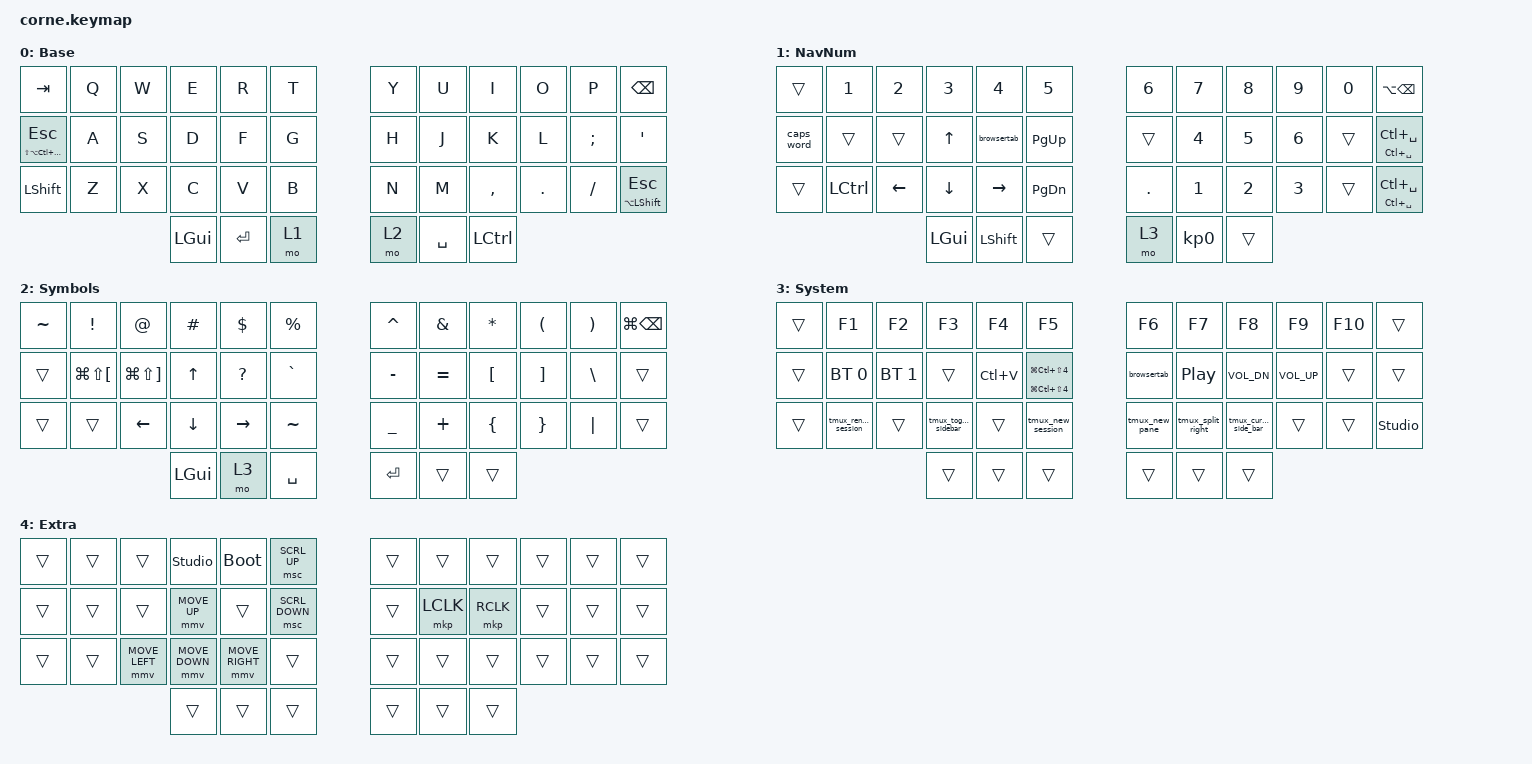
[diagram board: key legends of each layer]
#include <behaviors.dtsi>
#include <dt-bindings/zmk/bt.h>
#include <dt-bindings/zmk/keys.h>
#include <dt-bindings/zmk/pointing.h>

#define DEF 0
#define NAV 1
#define SYM 2
#define ADJ 3
#define EXTRA 4

/ {
    behaviors {
        hm: homerow_mods {
            compatible = "zmk,behavior-hold-tap";
            #binding-cells = <2>;
            tapping-term-ms = <200>;
            flavor = "tap-preferred";
            bindings = <&kp>, <&kp>;

            quick-tap-ms = <180>;
            require-prior-idle-ms = <120>; /* tune to taste */
        };

        para: para {
            compatible = "zmk,behavior-tap-dance";
            #binding-cells = <0>;
            bindings = <&kp LEFT_PARENTHESIS>, <&kp RIGHT_PARENTHESIS>;
        };

        caps: caps {
            compatible = "zmk,behavior-caps-word";
            #binding-cells = <0>;
            continue-list = <MINUS BACKSPACE>;
        };

        paraless: paraless {
            compatible = "zmk,behavior-mod-morph";
            bindings = <&kp LEFT_PARENTHESIS>, <&kp LESS_THAN>;

            #binding-cells = <0>;
            mods = <(MOD_LSFT)>;
        };

        paragreat: paragreat {
            compatible = "zmk,behavior-mod-morph";
            bindings = <&kp RIGHT_PARENTHESIS>, <&kp GREATER_THAN>;

            #binding-cells = <0>;
            mods = <(MOD_LSFT)>;
        };
    };

    macros {
        browsertab: browsertab {
            compatible = "zmk,behavior-macro";
            #binding-cells = <0>;
            bindings =
                <&macro_press>,
                <&kp LEFT_CONTROL>,
                <&macro_tap>,
                <&kp TAB>,
                <&macro_release>,
                <&kp LCTRL>;
        };

        tmux_cursor_side_bar: select_agent_panel {
            compatible = "zmk,behavior-macro";
            #binding-cells = <0>;
            bindings =
                <&macro_press>,
                <&kp LEFT_CONTROL>,
                <&macro_tap>,
                <&kp SPACE>,
                <&macro_release>,
                <&kp LCTRL>,
                <&macro_tap>,
                <&kp O>;

            label = "SELECT_AGENT_PANEL";
        };

        tmux_toggle_sidebar: toggle_sidebar {
            compatible = "zmk,behavior-macro";
            #binding-cells = <0>;
            bindings =
                <&macro_press>,
                <&kp LEFT_CONTROL>,
                <&macro_tap>,
                <&kp SPACE>,
                <&macro_release>,
                <&kp LCTRL>,
                <&macro_tap>,
                <&kp LS(E)>;

            label = "TOGGLE_SIDEBAR";
        };

        tmux_new_pane: new_pane {
            compatible = "zmk,behavior-macro";
            #binding-cells = <0>;
            bindings =
                <&macro_press>,
                <&kp LEFT_CONTROL>,
                <&macro_tap>,
                <&kp SPACE>,
                <&macro_release>,
                <&kp LCTRL>,
                <&macro_tap>,
                <&kp T>;

            label = "NEW_PANE";
        };

        tmux_new_session: new_session {
            compatible = "zmk,behavior-macro";
            #binding-cells = <0>;
            bindings =
                <&macro_press>,
                <&kp LEFT_CONTROL>,
                <&macro_tap>,
                <&kp SPACE>,
                <&macro_release>,
                <&kp LCTRL>,
                <&macro_tap>,
                <&kp LS(S)>;

            label = "NEW_SESSION";
        };

        tmux_rename_session: tmux_rename_session {
            compatible = "zmk,behavior-macro";
            #binding-cells = <0>;
            bindings =
                <&macro_press>,
                <&kp LEFT_CONTROL>,
                <&macro_tap>,
                <&kp SPACE>,
                <&macro_release>,
                <&kp LCTRL>,
                <&macro_tap>,
                <&kp DOLLAR>;

            label = "TMUX_RENAME_SESSION";
        };

        tmux_split_right: tmux_split_right {
            compatible = "zmk,behavior-macro";
            #binding-cells = <0>;
            bindings =
                <&macro_press>,
                <&kp LEFT_CONTROL>,
                <&macro_tap>,
                <&kp SPACE>,
                <&macro_release>,
                <&kp LCTRL>,
                <&macro_tap>,
                <&kp V>;

            label = "TMUX_SPLIT_RIGHT";
        };
    };

    combos {
        compatible = "zmk,combos";

        escape {
            bindings = <&kp ESCAPE>;
            key-positions = <13 29>;
        };

        delete {
            bindings = <&kp DELETE>;
            key-positions = <15 21>;
        };

        perc {
            bindings = <&kp PERCENT>;
            key-positions = <5 17>;
            layers = <0>;
        };

        equal {
            bindings = <&kp EQUAL>;
            key-positions = <28 16>;
            layers = <0>;
        };

        dollar {
            bindings = <&kp DOLLAR>;
            key-positions = <4 16>;
            layers = <0>;
        };

        pound {
            bindings = <&kp POUND>;
            key-positions = <3 15>;
            layers = <0>;
        };

        at {
            bindings = <&kp AT>;
            key-positions = <2 14>;
            layers = <0>;
        };

        backslash {
            bindings = <&kp BACKSLASH>;
            key-positions = <26 14>;
            layers = <0>;
        };

        star {
            bindings = <&kp STAR>;
            key-positions = <8 20>;
            layers = <0>;
        };

        slash {
            bindings = <&kp SLASH>;
            key-positions = <32 20>;
            layers = <0>;
        };

        plus {
            bindings = <&kp PLUS>;
            key-positions = <7 19>;
            layers = <0>;
        };

        minus {
            bindings = <&kp KP_MINUS>;
            key-positions = <31 19>;
            layers = <0>;
        };

        underscore {
            bindings = <&kp UNDER>;
            key-positions = <30 18>;
            layers = <0>;
        };

        leftbrack {
            bindings = <&kp LEFT_BRACKET>;
            key-positions = <31 32>;
            layers = <0>;
        };

        rightbrack {
            bindings = <&kp RIGHT_BRACKET>;
            key-positions = <33 32>;
            layers = <0>;
        };

        para-less {
            bindings = <&paraless>;
            key-positions = <20 19>;
            layers = <0>;
        };

        para-great {
            bindings = <&paragreat>;
            key-positions = <20 21>;
            layers = <0>;
        };
    };

    //

    keymap {
        compatible = "zmk,keymap";

        DEF {
            display-name = "Base";

            // -----------------------------------------------------------------------------------------
            // |  Q  |  W  |  E  |  R  |  T  |   |  Y  |  U   |  I  |  O  |  P  |
            // |  A  |  S  |  D  |  F  |  G  |   |  H  |  J   |  K  |  L  |  ;  |
            // |  Z  |  X  |  C  |  V  |  B  |   |  N  |  M   |  ,  |  .  |  /  |
            // | GUI | CTRL | SHFT | LWR | SPC |   | ENT | RSE  | BKSP | ALT | ESC |

            bindings = <
&kp TAB                           &kp Q  &kp W  &kp E     &kp R       &kp T    &kp Y  &kp U      &kp I             &kp O    &kp P     &kp BACKSPACE
&mt LS(LA(LC(LG(LSHFT)))) ESCAPE  &kp A  &kp S  &kp D     &kp F       &kp G    &kp H  &kp J      &kp K             &kp L    &kp SEMI  &kp SQT
&kp LEFT_SHIFT                    &kp Z  &kp X  &kp C     &kp V       &kp B    &kp N  &kp M      &kp COMMA         &kp DOT  &kp FSLH  &mt LA(LEFT_SHIFT) ESCAPE
                                                &kp LGUI  &kp RETURN  &mo 1    &mo 2  &kp SPACE  &kp LEFT_CONTROL
            >;
        };

        NAV {
            display-name = "NavNum";

            // -----------------------------------------------------------------------------------------
            // |  TAB |  1  |  2  |  3  |  4  |  5  |   |  6  |  7  |  8  |  9  |  0  | BKSP |
            // | BTCLR| BT1 | BT2 | BT3 | BT4 | BT5 |   | LFT | DWN |  UP | RGT |     |      |
            // | SHFT |     |     |     |     |     |   |     |     |     |     |     |      |
            // | GUI | CTRL | SHFT | LWR | SPC |   | ENT | RSE  | BKSP | ALT | ESC |

            bindings = <
&trans      &kp N1     &kp N2    &kp N3        &kp N4           &kp N5           &kp N6      &kp N7           &kp N8        &kp N9        &kp N0  &kp LA(BACKSPACE)
&caps_word  &trans     &trans    &kp UP_ARROW  &browsertab      &kp PAGE_UP      &trans      &kp NUMBER_4     &kp NUMBER_5  &kp NUMBER_6  &trans  &mt LC(SPACE) LC(SPACE)
&trans      &kp LCTRL  &kp LEFT  &kp DOWN      &kp RIGHT_ARROW  &kp PAGE_DOWN    &kp PERIOD  &kp N1           &kp N2        &kp N3        &trans  &mt LC(SPACE) LC(SPACE)
                                 &kp LGUI      &kp LEFT_SHIFT   &trans           &mo 3       &kp KP_NUMBER_0  &trans
            >;
        };

        SYM {
            display-name = "Symbols";

            // -----------------------------------------------------------------------------------------
            // |  TAB |  !  |  @  |  #  |  $  |  %  |   |  ^  |  &  |  *  |  (  |  )  | BKSP |
            // | CTRL |     |     |     |     |     |   |  -  |  =  |  [  |  ]  |  \  |  `   |
            // | SHFT |     |     |     |     |     |   |  _  |  +  |  {  |  }  | "|" |  ~   |
            //                    | GUI |     | SPC |   | ENT |     | ALT |

            bindings = <
&kp TILDE  &kp EXCL                  &kp AT                     &kp HASH        &kp DLLR         &kp PRCNT    &kp CARET  &kp AMPS   &kp ASTRK  &kp LEFT_PARENTHESIS  &kp RPAR  &kp LG(BACKSPACE)
&trans     &kp LG(LS(LEFT_BRACKET))  &kp LG(LS(RIGHT_BRACKET))  &kp UP_ARROW    &kp QMARK        &kp GRAVE    &kp MINUS  &kp EQUAL  &kp LBKT   &kp RBKT              &kp BSLH  &trans
&trans     &trans                    &kp LEFT_ARROW             &kp DOWN_ARROW  &kp RIGHT_ARROW  &kp TILDE    &kp UNDER  &kp PLUS   &kp LBRC   &kp RBRC              &kp PIPE  &trans
                                                                &kp LGUI        &mo 3            &kp SPACE    &kp RET    &trans     &trans
            >;
        };

        ADJ {
            display-name = "System";
            bindings = <
&trans  &kp F1                &kp F2        &kp F3                &kp F4     &kp F5                                     &kp F6          &kp F7             &kp F8                 &kp F9        &kp F10  &trans
&trans  &bt BT_SEL 0          &bt BT_SEL 1  &trans                &kp LC(V)  &mt LG(LC(LS(N4))) LG(LC(LS(NUMBER_4)))    &browsertab     &kp C_PP           &kp C_VOL_DN           &kp C_VOL_UP  &trans   &trans
&trans  &tmux_rename_session  &trans        &tmux_toggle_sidebar  &trans     &tmux_new_session                          &tmux_new_pane  &tmux_split_right  &tmux_cursor_side_bar  &trans        &trans   &studio_unlock
                                            &trans                &trans     &trans                                     &trans          &trans             &trans
            >;
        };

        EXTRA {
            display-name = "Extra";
            bindings = <
&trans  &trans  &trans          &studio_unlock  &bootloader      &msc SCRL_UP      &trans  &trans     &trans     &trans  &trans  &trans
&trans  &trans  &trans          &mmv MOVE_UP    &trans           &msc SCRL_DOWN    &trans  &mkp LCLK  &mkp RCLK  &trans  &trans  &trans
&trans  &trans  &mmv MOVE_LEFT  &mmv MOVE_DOWN  &mmv MOVE_RIGHT  &trans            &trans  &trans     &trans     &trans  &trans  &trans
                                &trans          &trans           &trans            &trans  &trans     &trans
            >;
        };
    };
};
